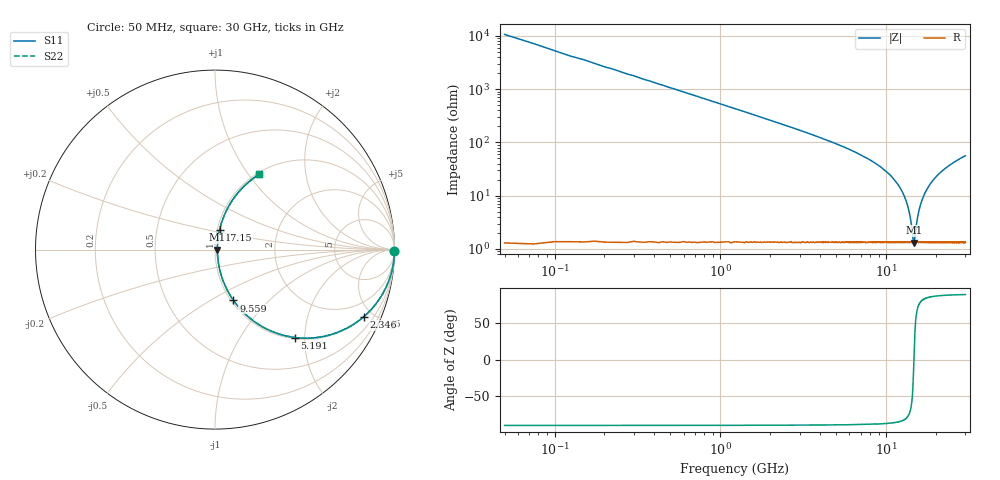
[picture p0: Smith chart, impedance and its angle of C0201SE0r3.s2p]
!	AVX Thin Film Operation 	Date: April 2014
!	Description: Accu-P® Series, Thin Film  SMD RF Capacitor
!	Part Number: 02011J0R3ZBSTR
# MHZ S MA R 50
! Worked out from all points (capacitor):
!   1201 points, 50 MHz to 30 GHz, reference 50 ohm
!   read as one part in series: C = 300 fF near 199.8 MHz
!   lowest |Z| = 1.32 ohm at 14.68 GHz (marker M1)
!   series resonance near 14.68 GHz, so ESL is about 390 pH
!   S11 on the Smith chart (normalised r, x): 50 MHz: open; 2.346 GHz: 1.02, -4.41; 5.191 GHz: 1.03, -1.79; 9.559 GHz: 1.03, -0.64; 17.15 GHz: 1.03, +0.22; 30 GHz: 1.03, +1.12
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50  1 -0.5  0.009424 89.5  0.009424 89.5  1 -0.5
324.542  0.998 -3.5  0.061 86.5  0.061 86.5  0.998 -3.5
698.917  0.991 -7.5  0.131 82.4  0.131 82.4  0.991 -7.5
1347.833  0.968 -14.4  0.248 75.4  0.248 75.4  0.968 -14.4
2346.167  0.909 -24.4  0.412 65.3  0.412 65.3  0.909 -24.4
3594.083  0.808 -35.6  0.582 53.9  0.582 53.9  0.808 -35.6
5041.667  0.675 -46.7  0.728 42.5  0.728 42.5  0.675 -46.7
5191.417  0.662 -47.7  0.74 41.4  0.74 41.4  0.662 -47.7
7287.917  0.476 -60.2  0.868 28.4  0.868 28.4  0.476 -60.2
9559.125  0.301 -70.1  0.941 17.5  0.941 17.5  0.301 -70.1
10058.29  0.267 -71.8  0.951 15.4  0.951 15.4  0.267 -71.8
11855.29  0.152 -76.4  0.975 8.7  0.975 8.7  0.152 -76.4
13053.29  0.085 -76.3  0.983 4.8  0.983 4.8  0.085 -76.3
13827  0.045 -70.4  0.986 2.4  0.986 2.4  0.045 -70.4
14675.58  0.013 -1.2  0.987 0.0  0.987 0.0  0.013 -1.2
15025  0.021 50.4  0.987 -0.9  0.987 -0.9  0.021 50.4
15399.38  0.037 66.9  0.986 -2.0  0.986 -2.0  0.037 66.9
15848.62  0.056 73.3  0.985 -3.1  0.985 -3.1  0.056 73.3
17146.46  0.111 76.9  0.981 -6.3  0.981 -6.3  0.111 76.9
20016.67  0.22 74.0  0.963 -12.7  0.963 -12.7  0.22 74.0
25033.29  0.371 66.4  0.917 -21.7  0.917 -21.7  0.371 66.4
30000  0.485 59.6  0.863 -29.0  0.863 -29.0  0.485 59.6
